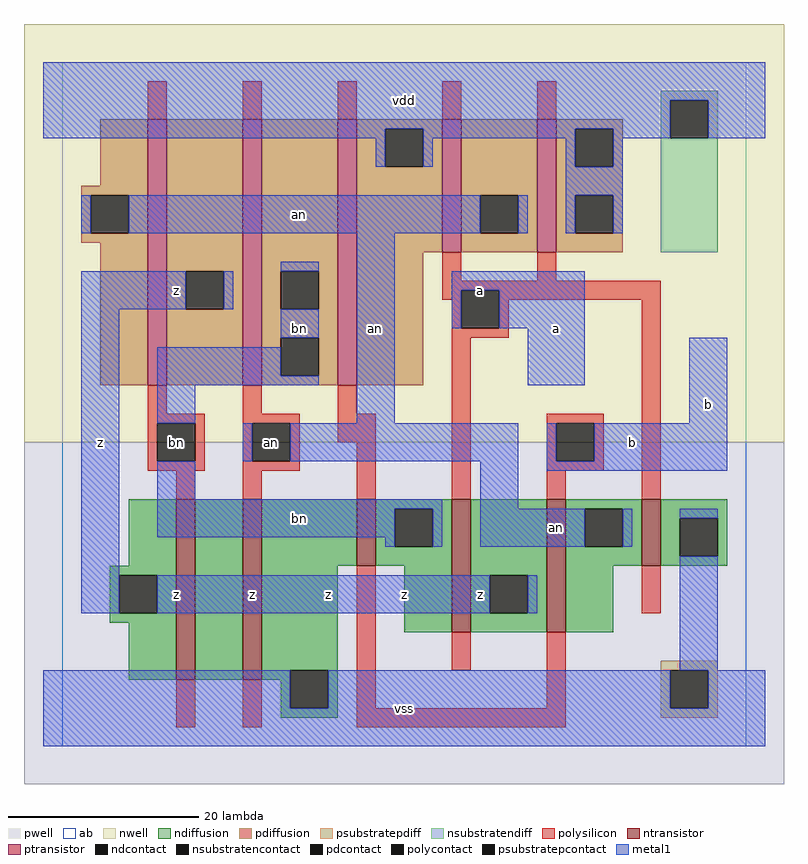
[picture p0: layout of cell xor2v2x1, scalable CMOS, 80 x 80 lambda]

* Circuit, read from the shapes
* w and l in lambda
.subckt xor2v2x1 a an b bn vdd vss z
M1 n1 bn z vss nfet w=19 l=2
M2 vss an n1 vss nfet w=19 l=2
M3 bn b vss vss nfet w=7 l=2
M4 z a bn vss nfet w=14 l=2
M5 an b z vss nfet w=14 l=2
M6 vss a an vss nfet w=7 l=2
M7 z bn an vdd pfet w=28 l=2
M8 bn an z vdd pfet w=28 l=2
M9 vdd b bn vdd pfet w=28 l=2
M10 an a vdd vdd pfet w=14 l=2 m=2
.ends

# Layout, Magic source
magic
tech scmos
<< ab >>
rect 0 0 72 72
<< pwell >>
rect -4 -4 76 32
<< nwell >>
rect -4 32 76 76
<< polysilicon >>
rect 9 66 11 70
rect 19 66 21 70
rect 29 66 31 70
rect 40 66 42 70
rect 50 66 52 70
rect 40 49 42 52
rect 50 49 52 52
rect 40 48 63 49
rect 40 47 42 48
rect 41 44 42 47
rect 46 47 63 48
rect 46 44 47 47
rect 41 43 47 44
rect 9 35 11 38
rect 19 35 21 38
rect 29 35 31 38
rect 9 34 15 35
rect 9 30 10 34
rect 14 30 15 34
rect 9 29 15 30
rect 19 34 25 35
rect 19 30 20 34
rect 24 30 25 34
rect 29 32 33 35
rect 19 29 25 30
rect 12 26 14 29
rect 19 26 21 29
rect 31 26 33 32
rect 41 26 43 43
rect 51 34 57 35
rect 51 30 52 34
rect 56 30 57 34
rect 51 29 57 30
rect 51 26 53 29
rect 61 26 63 47
rect 12 2 14 7
rect 19 2 21 7
rect 31 4 33 19
rect 61 14 63 19
rect 41 8 43 12
rect 51 4 53 12
rect 31 2 53 4
<< ndiffusion >>
rect 7 19 12 26
rect 5 18 12 19
rect 5 14 6 18
rect 10 14 12 18
rect 5 13 12 14
rect 7 7 12 13
rect 14 7 19 26
rect 21 19 31 26
rect 33 25 41 26
rect 33 21 35 25
rect 39 21 41 25
rect 33 19 41 21
rect 21 8 29 19
rect 21 7 24 8
rect 23 4 24 7
rect 28 4 29 8
rect 23 3 29 4
rect 36 12 41 19
rect 43 18 51 26
rect 43 14 45 18
rect 49 14 51 18
rect 43 12 51 14
rect 53 25 61 26
rect 53 21 55 25
rect 59 21 61 25
rect 53 19 61 21
rect 63 24 70 26
rect 63 20 65 24
rect 69 20 70 24
rect 63 19 70 20
rect 53 12 58 19
<< pdiffusion >>
rect 4 59 9 66
rect 2 58 9 59
rect 2 54 3 58
rect 7 54 9 58
rect 2 53 9 54
rect 4 38 9 53
rect 11 50 19 66
rect 11 46 13 50
rect 17 46 19 50
rect 11 38 19 46
rect 21 50 29 66
rect 21 46 23 50
rect 27 46 29 50
rect 21 43 29 46
rect 21 39 23 43
rect 27 39 29 43
rect 21 38 29 39
rect 31 65 40 66
rect 31 61 34 65
rect 38 61 40 65
rect 31 52 40 61
rect 42 58 50 66
rect 42 54 44 58
rect 48 54 50 58
rect 42 52 50 54
rect 52 65 59 66
rect 52 61 54 65
rect 58 61 59 65
rect 52 58 59 61
rect 52 54 54 58
rect 58 54 59 58
rect 52 52 59 54
rect 31 38 38 52
<< metal1 >>
rect -2 68 74 72
rect -2 65 64 68
rect -2 64 34 65
rect 33 61 34 64
rect 38 64 54 65
rect 38 61 39 64
rect 53 61 54 64
rect 58 64 64 65
rect 68 64 74 68
rect 58 61 59 64
rect 53 58 59 61
rect 2 54 3 58
rect 7 54 44 58
rect 48 54 49 58
rect 53 54 54 58
rect 58 54 59 58
rect 23 50 27 51
rect 2 46 13 50
rect 17 46 18 50
rect 2 14 6 46
rect 23 43 27 46
rect 10 39 23 42
rect 10 38 27 39
rect 10 34 14 38
rect 31 34 35 54
rect 41 48 55 50
rect 41 44 42 48
rect 46 44 55 48
rect 49 38 55 44
rect 66 34 70 43
rect 19 30 20 34
rect 24 30 48 34
rect 10 26 14 30
rect 10 25 40 26
rect 10 22 35 25
rect 34 21 35 22
rect 39 21 40 25
rect 44 25 48 30
rect 51 30 52 34
rect 56 30 70 34
rect 51 29 70 30
rect 44 21 55 25
rect 59 21 60 25
rect 65 24 69 25
rect 10 14 45 18
rect 49 14 50 18
rect 65 8 69 20
rect -2 4 24 8
rect 28 4 64 8
rect 68 4 74 8
rect -2 0 74 4
<< ntransistor >>
rect 12 7 14 26
rect 19 7 21 26
rect 31 19 33 26
rect 41 12 43 26
rect 51 12 53 26
rect 61 19 63 26
<< ptransistor >>
rect 9 38 11 66
rect 19 38 21 66
rect 29 38 31 66
rect 40 52 42 66
rect 50 52 52 66
<< polycontact >>
rect 42 44 46 48
rect 10 30 14 34
rect 20 30 24 34
rect 52 30 56 34
<< ndcontact >>
rect 6 14 10 18
rect 35 21 39 25
rect 24 4 28 8
rect 45 14 49 18
rect 55 21 59 25
rect 65 20 69 24
<< pdcontact >>
rect 3 54 7 58
rect 13 46 17 50
rect 23 46 27 50
rect 23 39 27 43
rect 34 61 38 65
rect 44 54 48 58
rect 54 61 58 65
rect 54 54 58 58
<< psubstratepcontact >>
rect 64 4 68 8
<< nsubstratencontact >>
rect 64 64 68 68
<< psubstratepdiff >>
rect 63 8 69 9
rect 63 4 64 8
rect 68 4 69 8
rect 63 3 69 4
<< nsubstratendiff >>
rect 63 68 69 69
rect 63 64 64 68
rect 68 64 69 68
rect 63 52 69 64
<< labels >>
rlabel polycontact 12 32 12 32 6 bn
rlabel polycontact 22 32 22 32 6 an
rlabel metal1 12 16 12 16 6 z
rlabel metal1 4 32 4 32 6 z
rlabel polycontact 12 32 12 32 6 bn
rlabel metal1 12 48 12 48 6 z
rlabel metal1 28 16 28 16 6 z
rlabel metal1 20 16 20 16 6 z
rlabel metal1 25 44 25 44 6 bn
rlabel metal1 33 44 33 44 6 an
rlabel metal1 36 4 36 4 6 vss
rlabel metal1 44 16 44 16 6 z
rlabel metal1 36 16 36 16 6 z
rlabel metal1 25 24 25 24 6 bn
rlabel metal1 44 48 44 48 6 a
rlabel metal1 52 44 52 44 6 a
rlabel metal1 25 56 25 56 6 an
rlabel metal1 36 68 36 68 6 vdd
rlabel metal1 52 23 52 23 6 an
rlabel metal1 60 32 60 32 6 b
rlabel metal1 68 36 68 36 6 b
<< end >>
